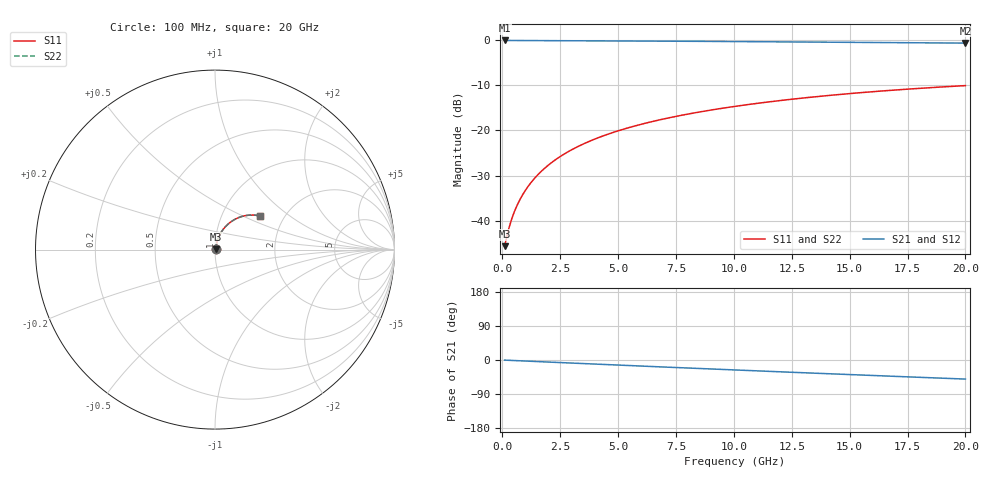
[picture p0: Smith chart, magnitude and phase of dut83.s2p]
! Touchstone file exported from HFSS 2026.1.0
!  File:  C:/ffzhzh/LocalFiles/Ansys_Project_Files/temp_train_BSMRDL_83_1782883120_46784.aedt
!  Generated:  01:20:06 PM Jul  1, 2026
!  Design:  BSMRDL
!  Project:  temp_train_BSMRDL_83_1782883120_46784
! Variables:
!  h_bsmrdl = 4.48um
!  h_ox = 20um
!  h_rdl = 5um
!  h_sub = 80um
!  h_tmrdl = 5um
!  h_tsv = 80um
!  h_via = 3um
!  l_bsmrdl = 853.59um
!  l_sub = 1253.59um
!  l_tmrdl = 200um
!  m_sub = 200um
!  pitch = 27.05um
!  r_tsv = 6um
!  s_tmrdl = 10um
!  w_bsmrdl = 14.86um
!  w_sub = 500um
!  w_tmrdl = 12um
!  x_tsv_center1 = 206um
!  x_tsv_center2 = 1074.45um
!  x_tsv_center3 = 1286.45um
!  x_tsv_center4 = 2154.9um
!  x_tsv_center5 = 2366.9um
!  x_tsv_center6 = 3235.35um
# GHz S MA R 50.000000
! Terminal data exported
! Port[1] = BSM_RDL1_1_T1
! Port[2] = BSM_RDL1_1_T2
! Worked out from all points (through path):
!   200 points, 100 MHz to 20 GHz, reference 50 ohm
!   highest |S21| = -0.04 dB at 100 MHz (marker M1); lowest = -0.6 dB at 20 GHz (marker M2)
!   group delay of S21, straight-line fit = 6.98 ps
!   lowest |S11| = -45.6 dB at 100 MHz (marker M3), VSWR 1.01, Z = 50.5 + j0.24 ohm
!   |S11| at or under -10 dB: start of sweep to end of sweep
!   |S22| runs from -45.6 to -10.0 dB; largest |S21 - S12| = 2.9e-15
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0.1  0.005222 27.0  0.9954 -0.3  0.9954 -0.3  0.005222 27.0
! Gamma 0 0 0 0
! Port Impedance 50 0 50 0
0.3  0.008509 52.3  0.9949 -0.9  0.9949 -0.9  0.008509 52.3
0.4  0.01033 58.0  0.9947 -1.1  0.9947 -1.1  0.01033 58.0
0.5  0.01218 62.0  0.9945 -1.4  0.9945 -1.4  0.01218 62.0
0.6  0.01406 64.9  0.9943 -1.7  0.9943 -1.7  0.01406 64.9
0.8  0.01787 69.0  0.9941 -2.2  0.9941 -2.2  0.01787 69.0
1  0.02175 71.5  0.9939 -2.7  0.9939 -2.7  0.02175 71.5
1.2  0.02568 73.1  0.9936 -3.3  0.9936 -3.3  0.02568 73.1
1.4  0.02964 74.1  0.9934 -3.8  0.9934 -3.8  0.02964 74.1
1.7  0.03559 75.0  0.993 -4.6  0.993 -4.6  0.0356 75.0
2.2  0.04552 75.4  0.9921 -6.0  0.9921 -6.0  0.04552 75.4
2.8  0.05733 74.9  0.9909 -7.6  0.9909 -7.6  0.05734 74.9
3.5  0.07091 73.9  0.9893 -9.5  0.9893 -9.5  0.07092 73.9
4.2  0.08424 72.5  0.9874 -11.3  0.9874 -11.3  0.08425 72.5
5  0.09913 70.8  0.9851 -13.4  0.9851 -13.4  0.09914 70.8
5.9  0.1155 68.8  0.9823 -15.8  0.9823 -15.8  0.1155 68.8
6.8  0.1313 66.7  0.9794 -18.1  0.9794 -18.1  0.1314 66.7
8.3  0.1568 63.2  0.9742 -21.9  0.9742 -21.9  0.1569 63.2
10.1  0.1859 59.0  0.9677 -26.4  0.9677 -26.4  0.186 59.0
13.4  0.2349 51.4  0.9553 -34.6  0.9553 -34.6  0.235 51.4
16.7  0.2778 43.9  0.9426 -42.6  0.9426 -42.6  0.278 43.8
20  0.3145 36.5  0.9304 -50.3  0.9304 -50.3  0.3146 36.4
